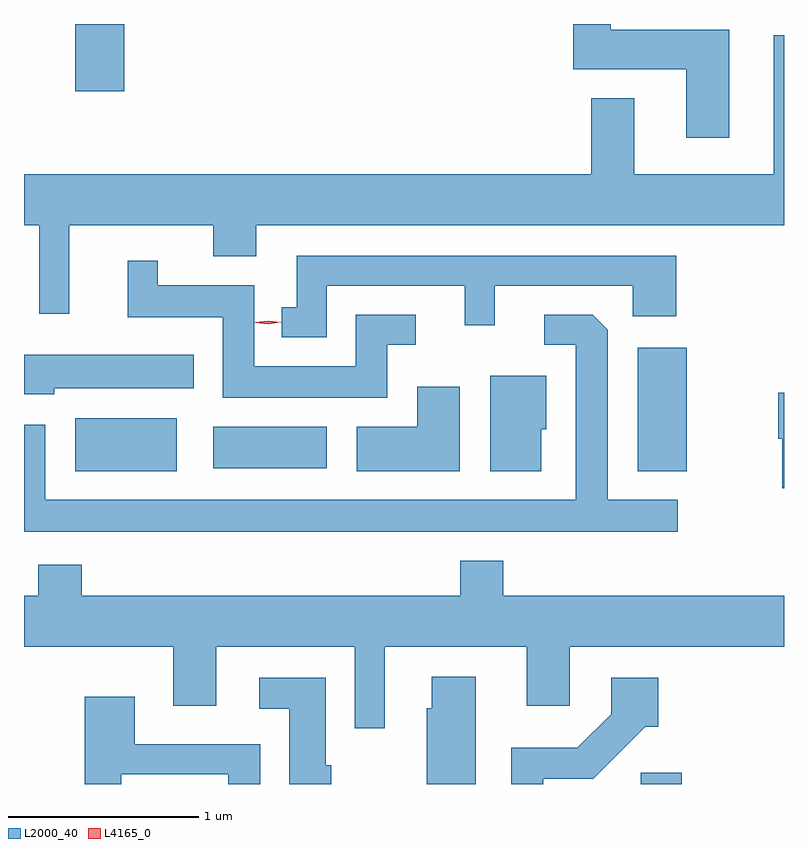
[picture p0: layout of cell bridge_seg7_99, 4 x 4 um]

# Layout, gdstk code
import gdstk
lib = gdstk.Library(unit=1e-6, precision=1e-09)
def R(c, l, rs):  # rectangles x0, y0, x1, y1
    for r in rs: c.add(gdstk.rectangle(r[:2], r[2:], *l))
def P(c, l, *ps):  # polygons
    for p in ps: c.add(gdstk.Polygon(p, *l))
L2000_40 = (2000, 40)
L4165_0 = (4165, 0)

bridge_seg7_99 = lib.new_cell('bridge_seg7_99')
R(bridge_seg7_99, L2000_40, [(1628.311,1746.894,1628.529,1746.954), (1625.336,1748.541,1625.869,1748.819), (1628.296,1748.541,1628.554,1749.189), (1626.061,1748.556,1626.659,1748.774), (1625.336,1750.541,1625.594,1750.894)])
P(bridge_seg7_99, L2000_40, [(1628.779,1750.864),(1628.154,1750.864),(1628.154,1750.894),(1627.956,1750.894),(1627.956,1750.656),(1628.551,1750.656),(1628.551,1750.296),(1628.779,1750.296)],
  [(1629.066,1750.834),(1629.011,1750.834),(1629.011,1750.104),(1628.279,1750.104),(1628.279,1750.504),(1628.051,1750.504),(1628.051,1750.104),(1625.066,1750.104),(1625.066,1749.836),(1625.146,1749.836),(1625.146,1749.368),(1625.304,1749.368),(1625.304,1749.836),(1626.061,1749.836),(1626.061,1749.671),(1626.289,1749.671),(1626.289,1749.836),(1629.066,1749.836)],
  [(1626.659,1749.516),(1627.386,1749.516),(1627.386,1749.308),(1627.544,1749.308),(1627.544,1749.516),(1628.271,1749.516),(1628.271,1749.356),(1628.499,1749.356),(1628.499,1749.674),(1626.501,1749.674),(1626.501,1749.404),(1626.423,1749.404),(1626.423,1749.246),(1626.659,1749.246)],
  [(1626.979,1749.206),(1627.128,1749.206),(1627.128,1749.364),(1626.811,1749.364),(1626.811,1749.094),(1626.279,1749.094),(1626.279,1749.519),(1625.769,1749.519),(1625.769,1749.648),(1625.611,1749.648),(1625.611,1749.351),(1626.111,1749.351),(1626.111,1748.926),(1626.979,1748.926)],
  [(1628.508,1748.389),(1628.139,1748.389),(1628.139,1749.284),(1628.059,1749.364),(1627.803,1749.364),(1627.803,1749.206),(1627.971,1749.206),(1627.971,1748.389),(1625.179,1748.389),(1625.179,1748.784),(1625.066,1748.784),(1625.066,1748.221),(1628.508,1748.221)],
  [(1625.224,1748.976),(1625.959,1748.976),(1625.959,1749.154),(1625.066,1749.154),(1625.066,1748.946),(1625.224,1748.946)],
  [(1627.789,1748.761),(1627.814,1748.761),(1627.814,1749.044),(1627.521,1749.044),(1627.521,1748.541),(1627.789,1748.541)],
  [(1627.359,1748.984),(1627.136,1748.984),(1627.136,1748.774),(1626.816,1748.774),(1626.816,1748.541),(1627.359,1748.541)],
  [(1629.066,1748.954),(1629.036,1748.954),(1629.036,1748.711),(1629.056,1748.711),(1629.056,1748.451),(1629.066,1748.451)],
  [(1626.964,1747.616),(1627.711,1747.616),(1627.711,1747.306),(1627.939,1747.306),(1627.939,1747.616),(1629.066,1747.616),(1629.066,1747.884),(1627.589,1747.884),(1627.589,1748.069),(1627.361,1748.069),(1627.361,1747.884),(1625.369,1747.884),(1625.369,1748.049),(1625.141,1748.049),(1625.141,1747.884),(1625.066,1747.884),(1625.066,1747.616),(1625.851,1747.616),(1625.851,1747.306),(1626.079,1747.306),(1626.079,1747.616),(1626.806,1747.616),(1626.806,1747.188),(1626.964,1747.188)],
  [(1627.444,1747.459),(1627.211,1747.459),(1627.211,1747.294),(1627.186,1747.294),(1627.186,1746.894),(1627.444,1746.894)],
  [(1626.684,1746.994),(1626.654,1746.994),(1626.654,1747.454),(1626.303,1747.454),(1626.303,1747.291),(1626.461,1747.291),(1626.461,1746.894),(1626.684,1746.894)],
  [(1627.799,1746.921),(1628.062,1746.921),(1628.337,1747.196),(1628.404,1747.196),(1628.404,1747.454),(1628.156,1747.454),(1628.156,1747.262),(1627.979,1747.084),(1627.631,1747.084),(1627.631,1746.894),(1627.799,1746.894)],
  [(1625.579,1746.946),(1626.141,1746.946),(1626.141,1746.894),(1626.309,1746.894),(1626.309,1747.104),(1625.649,1747.104),(1625.649,1747.354),(1625.386,1747.354),(1625.386,1746.894),(1625.579,1746.894)])
P(bridge_seg7_99, L4165_0, [(1626.351,1749.313),(1626.282,1749.322),(1626.282,1749.322),(1626.282,1749.323),(1626.351,1749.333),(1626.421,1749.324),(1626.421,1749.323),(1626.421,1749.323)])

lib.write_gds('bridge_seg7_99.gds')
